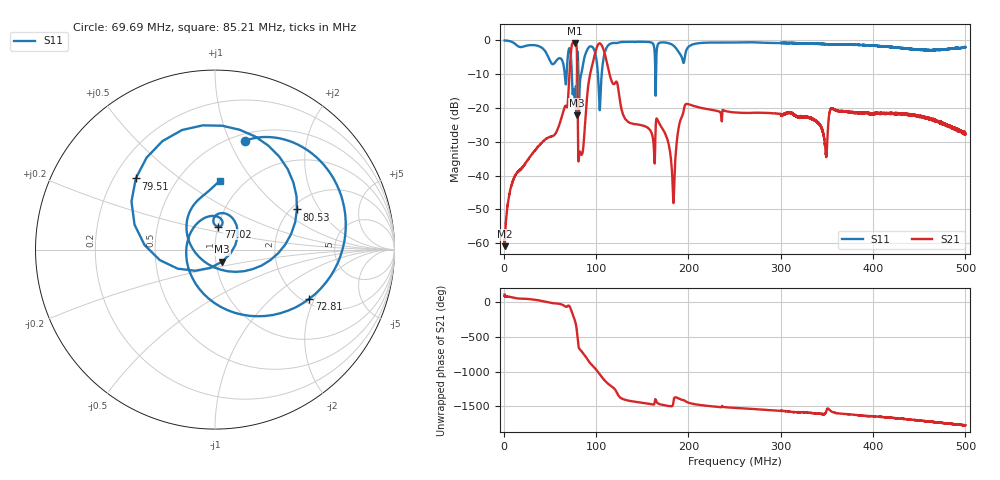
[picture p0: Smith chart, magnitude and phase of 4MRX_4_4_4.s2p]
! NanoVNA-App
! Date: 2026-08-19 14:21:38
! Start: 1MHz Stop: 500MHz Points: 6401
! S-Parameter data: F S11 S21 S12 S22
# Hz S RI R 50
!  Frequency  S11_Real  S11_Imag  S21_Real  S21_Imag  S12_Real  S12_Imag  S22_Real  S22_Imag
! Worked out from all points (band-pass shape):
!   6401 points, 1 MHz to 500 MHz, reference 50 ohm
!   highest |S21| = -0.71 dB at 76.71 MHz (marker M1); lowest = -60.9 dB at 1.156 MHz (marker M2)
!   |S21| within 3 dB of the highest: 72.77 MHz to 79.29 MHz (6.517 MHz wide, 8.57 % of centre); 99.06 MHz to 109.2 MHz (10.19 MHz wide, 9.78 % of centre)
!   lowest |S11| = -22.2 dB at 78.89 MHz (marker M3), VSWR 1.17, Z = 53.6 - j7.25 ohm
!   |S11| at or under -10 dB: 73.76 MHz to 79.21 MHz (5.45 MHz wide, 7.13 % of centre); 80.91 MHz to 83.93 MHz (3.022 MHz wide, 3.67 % of centre); 102 MHz to 106.1 MHz (4.079 MHz wide, 3.92 % of centre)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
!   S12 and S22 are empty: the file has one direction only
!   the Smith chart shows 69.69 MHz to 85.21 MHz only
!   S11 on the Smith chart (normalised r, x): 69.69 MHz: 0.57, +1.15; 72.81 MHz: 2.16, -1.83; 77.02 MHz: 1.00, +0.26; 79.51 MHz: 0.29, +0.36; 80.53 MHz: 2.15, +1.30; 85.21 MHz: 0.78, +0.70
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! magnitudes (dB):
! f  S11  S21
! 1 MHz  0.0  -60.7
! 1.156 MHz  0.0  -60.9
! 11.45 MHz  -0.8  -40.6
! 69.69 MHz  -4.0  -17.4
! 72.81 MHz  -4.5  -3.6
! 76.71 MHz  -17.0  -0.7
! 77.02 MHz  -17.8  -0.7
! 78.89 MHz  -22.2  -1.6
! 79.51 MHz  -4.5  -6.4
! 80.53 MHz  -5.9  -30.3
! 84.19 MHz  -9.7  -33.7
! 85.21 MHz  -8.3  -33.5
! 96.2 MHz  -2.0  -6.9
! 103.6 MHz  -19.1  -0.9
! 132.3 MHz  -0.4  -23.5
! 167.4 MHz  -1.0  -24.0
! 183.5 MHz  -1.4  -46.9
! 197.7 MHz  -2.9  -18.8
! 250.5 MHz  -0.6  -21.3
! 333.7 MHz  -1.0  -23.2
! 416.9 MHz  -1.8  -21.5
! 500 MHz  -2.0  -27.9
